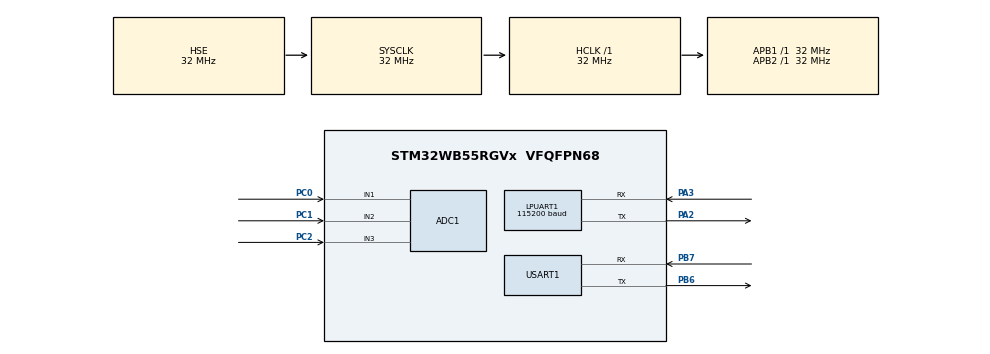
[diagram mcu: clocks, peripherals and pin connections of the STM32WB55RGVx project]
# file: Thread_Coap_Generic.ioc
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ADC1.Channel-0\#ChannelRegularConversion=ADC_CHANNEL_VREFINT
ADC1.Channel-1\#ChannelRegularConversion=ADC_CHANNEL_1
ADC1.Channel-2\#ChannelRegularConversion=ADC_CHANNEL_2
ADC1.Channel-3\#ChannelRegularConversion=ADC_CHANNEL_3
ADC1.ClockPrescaler=ADC_CLOCK_SYNC_PCLK_DIV4
ADC1.DMAContinuousRequests=ENABLE
ADC1.EnableAnalogWatchDog3=false
ADC1.NbrOfConversion=4
ADC1.NbrOfConversionFlag=1
ADC1.OffsetNumber-0\#ChannelRegularConversion=ADC_OFFSET_NONE
ADC1.OffsetNumber-1\#ChannelRegularConversion=ADC_OFFSET_NONE
ADC1.OffsetNumber-2\#ChannelRegularConversion=ADC_OFFSET_NONE
ADC1.OffsetNumber-3\#ChannelRegularConversion=ADC_OFFSET_NONE
ADC1.OversamplingMode=ENABLE
ADC1.OversamplingStopReset=ADC_REGOVERSAMPLING_RESUMED_MODE
ADC1.Rank-0\#ChannelRegularConversion=1
ADC1.Rank-1\#ChannelRegularConversion=2
ADC1.Rank-2\#ChannelRegularConversion=3
ADC1.Rank-3\#ChannelRegularConversion=4
ADC1.Ratio=ADC_OVERSAMPLING_RATIO_256
ADC1.RightBitShift=ADC_RIGHTBITSHIFT_4
ADC1.SamplingTime-0\#ChannelRegularConversion=ADC_SAMPLETIME_640CYCLES_5
ADC1.SamplingTime-1\#ChannelRegularConversion=ADC_SAMPLETIME_640CYCLES_5
ADC1.SamplingTime-2\#ChannelRegularConversion=ADC_SAMPLETIME_640CYCLES_5
ADC1.SamplingTime-3\#ChannelRegularConversion=ADC_SAMPLETIME_640CYCLES_5
ADC1.master=1
Dma.ADC1.1.Direction=DMA_PERIPH_TO_MEMORY
Dma.ADC1.1.EventEnable=DISABLE
Dma.ADC1.1.Instance=DMA1_Channel1
Dma.ADC1.1.MemDataAlignment=DMA_MDATAALIGN_HALFWORD
Dma.ADC1.1.MemInc=DMA_MINC_ENABLE
Dma.ADC1.1.Mode=DMA_NORMAL
Dma.ADC1.1.PeriphDataAlignment=DMA_PDATAALIGN_HALFWORD
Dma.ADC1.1.PeriphInc=DMA_PINC_DISABLE
Dma.ADC1.1.Polarity=HAL_DMAMUX_REQ_GEN_RISING
Dma.ADC1.1.Priority=DMA_PRIORITY_LOW
Dma.ADC1.1.RequestNumber=1
Dma.ADC1.1.SignalID=NONE
Dma.ADC1.1.SyncEnable=DISABLE
Dma.ADC1.1.SyncPolarity=HAL_DMAMUX_SYNC_NO_EVENT
Dma.ADC1.1.SyncRequestNumber=1
Dma.ADC1.1.SyncSignalID=NONE
Dma.LPUART1_TX.2.Direction=DMA_MEMORY_TO_PERIPH
Dma.LPUART1_TX.2.EventEnable=DISABLE
Dma.LPUART1_TX.2.Instance=DMA1_Channel3
Dma.LPUART1_TX.2.MemDataAlignment=DMA_MDATAALIGN_BYTE
Dma.LPUART1_TX.2.MemInc=DMA_MINC_ENABLE
Dma.LPUART1_TX.2.Mode=DMA_NORMAL
Dma.LPUART1_TX.2.PeriphDataAlignment=DMA_PDATAALIGN_BYTE
Dma.LPUART1_TX.2.PeriphInc=DMA_PINC_DISABLE
Dma.LPUART1_TX.2.Polarity=HAL_DMAMUX_REQ_GEN_RISING
Dma.LPUART1_TX.2.Priority=DMA_PRIORITY_LOW
Dma.LPUART1_TX.2.RequestNumber=1
Dma.LPUART1_TX.2.SignalID=NONE
Dma.LPUART1_TX.2.SyncEnable=DISABLE
Dma.LPUART1_TX.2.SyncPolarity=HAL_DMAMUX_SYNC_NO_EVENT
Dma.LPUART1_TX.2.SyncRequestNumber=1
Dma.LPUART1_TX.2.SyncSignalID=NONE
Dma.Request0=USART1_TX
Dma.Request1=ADC1
Dma.Request2=LPUART1_TX
Dma.USART1_TX.0.Direction=DMA_MEMORY_TO_PERIPH
Dma.USART1_TX.0.EventEnable=DISABLE
Dma.USART1_TX.0.Instance=DMA1_Channel2
Dma.USART1_TX.0.MemDataAlignment=DMA_MDATAALIGN_BYTE
Dma.USART1_TX.0.MemInc=DMA_MINC_ENABLE
Dma.USART1_TX.0.Mode=DMA_NORMAL
Dma.USART1_TX.0.PeriphDataAlignment=DMA_PDATAALIGN_BYTE
Dma.USART1_TX.0.PeriphInc=DMA_PINC_DISABLE
Dma.USART1_TX.0.Polarity=HAL_DMAMUX_REQ_GEN_RISING
Dma.USART1_TX.0.Priority=DMA_PRIORITY_LOW
Dma.USART1_TX.0.RequestNumber=1
Dma.USART1_TX.0.SignalID=NONE
Dma.USART1_TX.0.SyncEnable=DISABLE
Dma.USART1_TX.0.SyncPolarity=HAL_DMAMUX_SYNC_NO_EVENT
Dma.USART1_TX.0.SyncRequestNumber=1
Dma.USART1_TX.0.SyncSignalID=NONE
LPUART1.BaudRate=115200
Mcu.Family=STM32WB
Mcu.Name=STM32WB55RGVx
Mcu.Package=VFQFPN68
NVIC.ADC1_IRQn=true\:0\:0\:false\:false\:true\:true\:true
NVIC.C2SEV_PWR_C2H_IRQn=true\:0\:0\:false\:false\:true\:true\:false
NVIC.DMA1_Channel1_IRQn=true\:0\:0\:false\:false\:true\:false\:true
NVIC.DMA1_Channel2_IRQn=true\:0\:0\:false\:false\:true\:false\:true
NVIC.DMA1_Channel3_IRQn=true\:0\:0\:false\:false\:true\:false\:true
NVIC.FLASH_IRQn=true\:0\:0\:false\:false\:true\:true\:true
NVIC.FPU_IRQn=true\:0\:0\:false\:false\:true\:true\:false
NVIC.HSEM_IRQn=true\:0\:0\:false\:false\:true\:true\:true
NVIC.IPCC_C1_RX_IRQn=true\:0\:0\:false\:false\:true\:true\:true
NVIC.IPCC_C1_TX_IRQn=true\:0\:0\:false\:false\:true\:true\:true
NVIC.PVD_PVM_IRQn=true\:0\:0\:false\:false\:true\:true\:true
NVIC.PWR_SOTF_BLEACT_802ACT_RFPHASE_IRQn=true\:0\:0\:false\:false\:true\:true\:false
NVIC.PriorityGroup=NVIC_PRIORITYGROUP_4
NVIC.RCC_IRQn=true\:0\:0\:false\:false\:true\:true\:false
NVIC.USART1_IRQn=true\:0\:0\:false\:false\:true\:true\:true
OSC_IN.Mode=HSE-External-Oscillator
OSC_IN.Signal=RCC_OSC_IN
OSC_OUT.Mode=HSE-External-Oscillator
OSC_OUT.Signal=RCC_OSC_OUT
PA13.Mode=Serial_Wire
PA13.Signal=SYS_JTMS-SWDIO
PA14.Mode=Serial_Wire
PA14.Signal=SYS_JTCK-SWCLK
PA2.Mode=Asynchronous
PA2.Signal=LPUART1_TX
PA3.Mode=Asynchronous
PA3.Signal=LPUART1_RX
PB6.Mode=Asynchronous
PB6.Signal=USART1_TX
PB7.Mode=Asynchronous
PB7.Signal=USART1_RX
PC0.Signal=ADCx_IN1
PC1.Signal=ADCx_IN2
PC14-OSC32_IN.Mode=LSE-External-Oscillator
PC14-OSC32_IN.Signal=RCC_OSC32_IN
PC15-OSC32_OUT.Mode=LSE-External-Oscillator
PC15-OSC32_OUT.Signal=RCC_OSC32_OUT
PC2.Signal=ADCx_IN3
ProjectManager.HeapSize=0x400
ProjectManager.StackSize=0x1000
ProjectManager.TargetToolchain=STM32CubeIDE
RCC.ADCFreq_Value=48000000
RCC.AHBFreq_Value=32000000
RCC.APB1Freq_Value=32000000
RCC.APB1TimFreq_Value=32000000
RCC.APB2Freq_Value=32000000
RCC.APB2TimFreq_Value=32000000
RCC.APB3Freq_Value=16000000
RCC.CK48CLockSelection=RCC_USBCLKSOURCE_HSI48
RCC.CortexFreq_Value=32000000
RCC.HCLKFreq_Value=32000000
RCC.HSE_VALUE=32000000
RCC.HSI48_VALUE=48000000
RCC.HSI_VALUE=16000000
RCC.PLLN=32
RCC.PLLSAI1N=24
RCC.RFWKPClockSelection=RCC_RFWKPCLKSOURCE_LSE
RCC.RTCClockSelection=RCC_RTCCLKSOURCE_LSE
RCC.SMPSCLockSelectionVirtual=RCC_SMPSCLKSOURCE_HSE
RCC.SYSCLKFreq_VALUE=32000000
RCC.SYSCLKSource=RCC_SYSCLKSOURCE_HSE
RCC.USBFreq_Value=48000000
RCC.VCOOutputFreq_Value=128000000
RF1.Mode=RF1_Activate
RF1.Signal=RF_RF1
RTC.AsynchPrediv=CFG_RTC_ASYNCH_PRESCALER
RTC.SynchPrediv=CFG_RTC_SYNCH_PRESCALER
SH.ADCx_IN1.0=ADC1_IN1,IN1-Single-Ended
SH.ADCx_IN2.0=ADC1_IN2,IN2-Single-Ended
SH.ADCx_IN3.0=ADC1_IN3,IN3-Single-Ended
STM32_WPAN.APPLI_CONFIG_LOG_LEVEL=LOG_LEVEL_NONE
STM32_WPAN.APP_DBG_EN=1
STM32_WPAN.CFG_CLI_UART=hw_lpuart1
STM32_WPAN.CFG_DBG_TRACE_UART=hw_lpuart1
STM32_WPAN.CFG_DEBUG_TRACE=1
STM32_WPAN.CFG_DEBUG_TRACE_FULL=0
STM32_WPAN.CFG_DEBUG_TRACE_LIGHT=0
STM32_WPAN.CFG_DEBUG_TRACE_LIGTH=1
STM32_WPAN.CFG_FAST_CONN_ADV_INTERVAL_MAX_HEXA=0x0
STM32_WPAN.CFG_FAST_CONN_ADV_INTERVAL_MIN_HEXA=0x0
STM32_WPAN.CFG_HW_LPUART1_ENABLED=1
STM32_WPAN.CFG_HW_USART1_ENABLED=0
STM32_WPAN.CFG_LP_CONN_ADV_INTERVAL_MAX_HEXA=0x0
STM32_WPAN.CFG_LP_CONN_ADV_INTERVAL_MIN_HEXA=0x0
STM32_WPAN.CHANNEL=14
STM32_WPAN.DBG_TRACE_UART_CFG=hw_lpuart1
STM32_WPAN.DBG_TRACE_USE_CIRCULAR_QUEUE=0
STM32_WPAN.LOCAL_NAME_FORMATTED=,'0'
STM32_WPAN.PANID=1111
STM32_WPAN.THREAD_APPLICATION=FTD
STM32_WPAN.UART_CLI=hw_uart1
USART1.OverSampling=UART_OVERSAMPLING_8
USART1.VirtualMode-Asynchronous=VM_ASYNC
USART1.WordLength=WORDLENGTH_8B
VP_ADC1_Vref_Input.Mode=IN-Vrefint
VP_HSEM_VS_HSEM.Mode=HSEM_Activate
VP_IPCC_VS_IPCC.Mode=IPCC_Activate
VP_RTC_VS_RTC_Activate.Mode=RTC_Enabled
VP_SEQUENCER_VS_SEQUENCER.Mode=SEQUENCER_Enabled
VP_STM32_WPAN_VS_THREAD.Mode=STM32_WPAN_Enabled
VP_TINY_LPM_VS_TINY_LPM.Mode=TINY_LPM_Enabled
board=custom

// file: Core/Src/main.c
/* USER CODE BEGIN Header */
/**
  ******************************************************************************
  * @file           : main.c
  * @brief          : Main program body
  ******************************************************************************
  * @attention
  *
  * <h2><center>&copy; Copyright (c) 2021 STMicroelectronics.
  * All rights reserved.</center></h2>
  *
  * This software component is licensed by ST under Ultimate Liberty license
  * SLA0044, the "License"; You may not use this file except in compliance with
  * the License. You may obtain a copy of the License at:
  *                             www.st.com/SLA0044
  *
  ******************************************************************************
  */

/* USER CODE END Header */
#include "main.h"

/* USER CODE BEGIN Includes */
#include "stm32_lpm.h"
#include "stm32_seq.h"
#include "dbg_trace.h"
#include "hw_conf.h"
#include "otp.h"

/* USER CODE END Includes */

ADC_HandleTypeDef hadc1;
DMA_HandleTypeDef hdma_adc1;

IPCC_HandleTypeDef hipcc;

UART_HandleTypeDef hlpuart1;
UART_HandleTypeDef huart1;
DMA_HandleTypeDef hdma_lpuart1_tx;
DMA_HandleTypeDef hdma_usart1_tx;

RTC_HandleTypeDef hrtc;

/* USER CODE BEGIN PV */
RTC_TimeTypeDef sTime = {0};
RTC_DateTypeDef sDate = {0};
RTC_AlarmTypeDef sAlarm = {0};

/* USER CODE END PV */

void SystemClock_Config(void);
static void MX_GPIO_Init(void);
static void MX_DMA_Init(void);
static void MX_RF_Init(void);
static void MX_RTC_Init(void);
static void MX_IPCC_Init(void);
static void MX_ADC1_Init(void);
/* USER CODE BEGIN PFP */
static void PeriphClock_Config(void);
static void Reset_Device( void );
static void Reset_IPCC( void );
static void Reset_BackupDomain( void );
static void Init_Exti( void );
static void Config_HSE(void);

static void RTC_ReSyncAlm(uint8_t AlmH, uint8_t AlmM, uint8_t AlmS);
/* USER CODE END PFP */

int main(void)
{
  /* USER CODE BEGIN 1 */
  /**
   * The OPTVERR flag is wrongly set at power on
   * It shall be cleared before using any HAL_FLASH_xxx() api
   */
  __HAL_FLASH_CLEAR_FLAG(FLASH_FLAG_OPTVERR);

  /* USER CODE END 1 */

  /* MCU Configuration--------------------------------------------------------*/

  /* Reset of all peripherals, Initializes the Flash interface and the Systick. */
  HAL_Init();

  /* USER CODE BEGIN Init */
  Reset_Device();
  Config_HSE();
  /* USER CODE END Init */

  /* Configure the system clock */
  SystemClock_Config();

  /* IPCC initialisation */
   MX_IPCC_Init();

  /* USER CODE BEGIN SysInit */
  PeriphClock_Config();
  Init_Exti(); /**< Configure the system Power Mode */

  /* USER CODE END SysInit */

  /* Initialize all configured peripherals */
  MX_GPIO_Init();
  MX_DMA_Init();
  MX_RF_Init();
  MX_RTC_Init();
  MX_ADC1_Init();
  MX_LPUART1_UART_Init();
  /* USER CODE BEGIN 2 */
  MX_USART1_UART_Init();

  BSP_LED_Init(LED_BLUE);
  BSP_LED_Init(LED_GREEN);
  BSP_LED_Init(LED_RED);

  /* USER CODE END 2 */

  /* Init code for STM32_WPAN */
  APPE_Init();
  /* Infinite loop */
  /* USER CODE BEGIN WHILE */
  while (1)
  {
    UTIL_SEQ_Run( UTIL_SEQ_DEFAULT );
    /* USER CODE END WHILE */
  }
  /* USER CODE END 3 */
}

void SystemClock_Config(void)
{
  RCC_OscInitTypeDef RCC_OscInitStruct = {0};
  RCC_ClkInitTypeDef RCC_ClkInitStruct = {0};
  RCC_PeriphCLKInitTypeDef PeriphClkInitStruct = {0};

  /** Macro to configure the PLL multiplication factor
  */
  __HAL_RCC_PLL_PLLM_CONFIG(RCC_PLLM_DIV1);
  /** Macro to configure the PLL clock source
  */
  __HAL_RCC_PLL_PLLSOURCE_CONFIG(RCC_PLLSOURCE_MSI);
  /** Configure LSE Drive Capability
  */
  HAL_PWR_EnableBkUpAccess();
  __HAL_RCC_LSEDRIVE_CONFIG(RCC_LSEDRIVE_LOW);
  /** Configure the main internal regulator output voltage
  */
  __HAL_PWR_VOLTAGESCALING_CONFIG(PWR_REGULATOR_VOLTAGE_SCALE1);
  /** Initializes the RCC Oscillators according to the specified parameters
  * in the RCC_OscInitTypeDef structure.
  */
  RCC_OscInitStruct.OscillatorType = RCC_OSCILLATORTYPE_HSI|RCC_OSCILLATORTYPE_HSE
                              |RCC_OSCILLATORTYPE_LSE|RCC_OSCILLATORTYPE_MSI;
  RCC_OscInitStruct.HSEState = RCC_HSE_ON;
  RCC_OscInitStruct.LSEState = RCC_LSE_ON;
  RCC_OscInitStruct.HSIState = RCC_HSI_ON;
  RCC_OscInitStruct.MSIState = RCC_MSI_ON;
  RCC_OscInitStruct.HSICalibrationValue = RCC_HSICALIBRATION_DEFAULT;
  RCC_OscInitStruct.MSICalibrationValue = RCC_MSICALIBRATION_DEFAULT;
  RCC_OscInitStruct.MSIClockRange = RCC_MSIRANGE_6;
  RCC_OscInitStruct.PLL.PLLState = RCC_PLL_NONE;
  if (HAL_RCC_OscConfig(&RCC_OscInitStruct) != HAL_OK)
  {
    Error_Handler();
  }
  /** Configure the SYSCLKSource, HCLK, PCLK1 and PCLK2 clocks dividers
  */
  RCC_ClkInitStruct.ClockType = RCC_CLOCKTYPE_HCLK4|RCC_CLOCKTYPE_HCLK2
                              |RCC_CLOCKTYPE_HCLK|RCC_CLOCKTYPE_SYSCLK
                              |RCC_CLOCKTYPE_PCLK1|RCC_CLOCKTYPE_PCLK2;
  RCC_ClkInitStruct.SYSCLKSource = RCC_SYSCLKSOURCE_HSE;
  RCC_ClkInitStruct.AHBCLKDivider = RCC_SYSCLK_DIV1;
  RCC_ClkInitStruct.APB1CLKDivider = RCC_HCLK_DIV1;
  RCC_ClkInitStruct.APB2CLKDivider = RCC_HCLK_DIV1;
  RCC_ClkInitStruct.AHBCLK2Divider = RCC_SYSCLK_DIV1;
  RCC_ClkInitStruct.AHBCLK4Divider = RCC_SYSCLK_DIV1;

  if (HAL_RCC_ClockConfig(&RCC_ClkInitStruct, FLASH_LATENCY_1) != HAL_OK)
  {
    Error_Handler();
  }
  /** Initializes the peripherals clocks
  */
  PeriphClkInitStruct.PeriphClockSelection = RCC_PERIPHCLK_SMPS|RCC_PERIPHCLK_RFWAKEUP
                              |RCC_PERIPHCLK_RTC|RCC_PERIPHCLK_USART1
                              |RCC_PERIPHCLK_LPUART1|RCC_PERIPHCLK_ADC;
  PeriphClkInitStruct.PLLSAI1.PLLN = 24;
  PeriphClkInitStruct.PLLSAI1.PLLP = RCC_PLLP_DIV2;
  PeriphClkInitStruct.PLLSAI1.PLLQ = RCC_PLLQ_DIV2;
  PeriphClkInitStruct.PLLSAI1.PLLR = RCC_PLLR_DIV2;
  PeriphClkInitStruct.PLLSAI1.PLLSAI1ClockOut = RCC_PLLSAI1_ADCCLK;
  PeriphClkInitStruct.Usart1ClockSelection = RCC_USART1CLKSOURCE_PCLK2;
  PeriphClkInitStruct.Lpuart1ClockSelection = RCC_LPUART1CLKSOURCE_PCLK1;
  PeriphClkInitStruct.AdcClockSelection = RCC_ADCCLKSOURCE_PLLSAI1;
  PeriphClkInitStruct.RTCClockSelection = RCC_RTCCLKSOURCE_LSE;
  PeriphClkInitStruct.RFWakeUpClockSelection = RCC_RFWKPCLKSOURCE_LSE;
  PeriphClkInitStruct.SmpsClockSelection = RCC_SMPSCLKSOURCE_HSE;
  PeriphClkInitStruct.SmpsDivSelection = RCC_SMPSCLKDIV_RANGE0;
  if (HAL_RCCEx_PeriphCLKConfig(&PeriphClkInitStruct) != HAL_OK)
  {
    Error_Handler();
  }
}

static void MX_ADC1_Init(void)
{

  ADC_ChannelConfTypeDef sConfig = {0};

  /** Common config
  */
  hadc1.Instance = ADC1;
  hadc1.Init.ClockPrescaler = ADC_CLOCK_SYNC_PCLK_DIV4;
  hadc1.Init.Resolution = ADC_RESOLUTION_12B;
  hadc1.Init.DataAlign = ADC_DATAALIGN_RIGHT;
  hadc1.Init.ScanConvMode = ADC_SCAN_ENABLE;
  hadc1.Init.EOCSelection = ADC_EOC_SINGLE_CONV;
  hadc1.Init.LowPowerAutoWait = DISABLE;
  hadc1.Init.ContinuousConvMode = DISABLE;
  hadc1.Init.NbrOfConversion = 4;
  hadc1.Init.DiscontinuousConvMode = DISABLE;
  hadc1.Init.ExternalTrigConv = ADC_SOFTWARE_START;
  hadc1.Init.ExternalTrigConvEdge = ADC_EXTERNALTRIGCONVEDGE_NONE;
  hadc1.Init.DMAContinuousRequests = ENABLE;
  hadc1.Init.Overrun = ADC_OVR_DATA_PRESERVED;
  hadc1.Init.OversamplingMode = ENABLE;
  hadc1.Init.Oversampling.Ratio = ADC_OVERSAMPLING_RATIO_256;
  hadc1.Init.Oversampling.RightBitShift = ADC_RIGHTBITSHIFT_4;
  hadc1.Init.Oversampling.TriggeredMode = ADC_TRIGGEREDMODE_SINGLE_TRIGGER;
  hadc1.Init.Oversampling.OversamplingStopReset = ADC_REGOVERSAMPLING_RESUMED_MODE;
  if (HAL_ADC_Init(&hadc1) != HAL_OK)
  {
    Error_Handler();
  }
  /** Configure Regular Channel
  */
  sConfig.Channel = ADC_CHANNEL_VREFINT;
  sConfig.Rank = ADC_REGULAR_RANK_1;
  sConfig.SamplingTime = ADC_SAMPLETIME_640CYCLES_5;
  sConfig.SingleDiff = ADC_SINGLE_ENDED;
  sConfig.OffsetNumber = ADC_OFFSET_NONE;
  sConfig.Offset = 0;
  if (HAL_ADC_ConfigChannel(&hadc1, &sConfig) != HAL_OK)
  {
    Error_Handler();
  }
  /** Configure Regular Channel
  */
  sConfig.Channel = ADC_CHANNEL_1;
  sConfig.Rank = ADC_REGULAR_RANK_2;
  if (HAL_ADC_ConfigChannel(&hadc1, &sConfig) != HAL_OK)
  {
    Error_Handler();
  }
  /** Configure Regular Channel
  */
  sConfig.Channel = ADC_CHANNEL_2;
  sConfig.Rank = ADC_REGULAR_RANK_3;
  if (HAL_ADC_ConfigChannel(&hadc1, &sConfig) != HAL_OK)
  {
    Error_Handler();
  }
  /** Configure Regular Channel
  */
  sConfig.Channel = ADC_CHANNEL_3;
  sConfig.Rank = ADC_REGULAR_RANK_4;
  if (HAL_ADC_ConfigChannel(&hadc1, &sConfig) != HAL_OK)
  {
    Error_Handler();
  }
  /* USER CODE BEGIN ADC1_Init 2 */
  /**> RR Perform ADC Offset Calibration One time */
  if (HAL_ADCEx_Calibration_Start(&hadc1, ADC_SINGLE_ENDED) != HAL_OK)
  {
   Error_Handler();
  }

  /* USER CODE END ADC1_Init 2 */

}

static void MX_IPCC_Init(void)
{

  hipcc.Instance = IPCC;
  if (HAL_IPCC_Init(&hipcc) != HAL_OK)
  {
    Error_Handler();
  }

}

void MX_LPUART1_UART_Init(void)
{

  hlpuart1.Instance = LPUART1;
  hlpuart1.Init.BaudRate = 115200;
  hlpuart1.Init.WordLength = UART_WORDLENGTH_8B;
  hlpuart1.Init.StopBits = UART_STOPBITS_1;
  hlpuart1.Init.Parity = UART_PARITY_NONE;
  hlpuart1.Init.Mode = UART_MODE_TX_RX;
  hlpuart1.Init.HwFlowCtl = UART_HWCONTROL_NONE;
  hlpuart1.Init.OneBitSampling = UART_ONE_BIT_SAMPLE_DISABLE;
  hlpuart1.Init.ClockPrescaler = UART_PRESCALER_DIV1;
  hlpuart1.AdvancedInit.AdvFeatureInit = UART_ADVFEATURE_NO_INIT;
  hlpuart1.FifoMode = UART_FIFOMODE_DISABLE;
  if (HAL_UART_Init(&hlpuart1) != HAL_OK)
  {
    Error_Handler();
  }
  if (HAL_UARTEx_SetTxFifoThreshold(&hlpuart1, UART_TXFIFO_THRESHOLD_1_8) != HAL_OK)
  {
    Error_Handler();
  }
  if (HAL_UARTEx_SetRxFifoThreshold(&hlpuart1, UART_RXFIFO_THRESHOLD_1_8) != HAL_OK)
  {
    Error_Handler();
  }
  if (HAL_UARTEx_DisableFifoMode(&hlpuart1) != HAL_OK)
  {
    Error_Handler();
  }

}

void MX_USART1_UART_Init(void)
{

  huart1.Instance = USART1;
  huart1.Init.BaudRate = 115200;
  huart1.Init.WordLength = UART_WORDLENGTH_8B;
  huart1.Init.StopBits = UART_STOPBITS_1;
  huart1.Init.Parity = UART_PARITY_NONE;
  huart1.Init.Mode = UART_MODE_TX_RX;
  huart1.Init.HwFlowCtl = UART_HWCONTROL_NONE;
  huart1.Init.OverSampling = UART_OVERSAMPLING_8;
  huart1.Init.OneBitSampling = UART_ONE_BIT_SAMPLE_DISABLE;
  huart1.Init.ClockPrescaler = UART_PRESCALER_DIV1;
  huart1.AdvancedInit.AdvFeatureInit = UART_ADVFEATURE_NO_INIT;
  if (HAL_UART_Init(&huart1) != HAL_OK)
  {
    Error_Handler();
  }
  if (HAL_UARTEx_SetTxFifoThreshold(&huart1, UART_TXFIFO_THRESHOLD_1_8) != HAL_OK)
  {
    Error_Handler();
  }
  if (HAL_UARTEx_SetRxFifoThreshold(&huart1, UART_RXFIFO_THRESHOLD_1_8) != HAL_OK)
  {
    Error_Handler();
  }
  if (HAL_UARTEx_DisableFifoMode(&huart1) != HAL_OK)
  {
    Error_Handler();
  }

}

static void MX_RF_Init(void)
{

}

static void MX_RTC_Init(void)
{

  /** Initialize RTC Only
  */
  hrtc.Instance = RTC;
  hrtc.Init.HourFormat = RTC_HOURFORMAT_24;
  hrtc.Init.AsynchPrediv = CFG_RTC_ASYNCH_PRESCALER;
  hrtc.Init.SynchPrediv = CFG_RTC_SYNCH_PRESCALER;
  hrtc.Init.OutPut = RTC_OUTPUT_DISABLE;
  hrtc.Init.OutPutPolarity = RTC_OUTPUT_POLARITY_HIGH;
  hrtc.Init.OutPutType = RTC_OUTPUT_TYPE_OPENDRAIN;
  hrtc.Init.OutPutRemap = RTC_OUTPUT_REMAP_NONE;
  if (HAL_RTC_Init(&hrtc) != HAL_OK)
  {
    Error_Handler();
  }
  /* USER CODE BEGIN RTC_Init 2 */

  /** Initialize RTC and set the Time and Date */
  sTime.Hours = 0x0;
  sTime.Minutes = 0x0;
  sTime.Seconds = 0x0;
  sTime.SubSeconds = 0x0;
  sTime.DayLightSaving = RTC_DAYLIGHTSAVING_NONE;
  sTime.StoreOperation = RTC_STOREOPERATION_RESET;
  if (HAL_RTC_SetTime(&hrtc, &sTime, RTC_FORMAT_BCD) != HAL_OK)
  {
    Error_Handler();
  }
  sDate.WeekDay = RTC_WEEKDAY_MONDAY;
  sDate.Month = RTC_MONTH_FEBRUARY;
  sDate.Date = 0x1;
  sDate.Year = 0x21;
  if (HAL_RTC_SetDate(&hrtc, &sDate, RTC_FORMAT_BCD) != HAL_OK)
  {
    Error_Handler();
  }
  /** Enable the Alarm A */
  sAlarm.AlarmTime.Hours = 0x0;
  sAlarm.AlarmTime.Minutes = 0x1;
  sAlarm.AlarmTime.Seconds = 0x0;
  sAlarm.AlarmTime.SubSeconds = 0x0;
  sAlarm.AlarmTime.DayLightSaving = RTC_DAYLIGHTSAVING_NONE;
  sAlarm.AlarmTime.StoreOperation = RTC_STOREOPERATION_RESET;
  sAlarm.AlarmMask = RTC_ALARMMASK_NONE;
  sAlarm.AlarmSubSecondMask = RTC_ALARMSUBSECONDMASK_ALL;
  sAlarm.AlarmDateWeekDaySel = RTC_ALARMDATEWEEKDAYSEL_WEEKDAY;
  sAlarm.AlarmDateWeekDay = RTC_WEEKDAY_MONDAY;
  sAlarm.Alarm = RTC_ALARM_A;
  if (HAL_RTC_SetAlarm_IT(&hrtc, &sAlarm, RTC_FORMAT_BCD) != HAL_OK)
  {
    Error_Handler();
  }
  /* USER CODE END RTC_Init 2 */
}

static void MX_DMA_Init(void)
{

  /* DMA controller clock enable */
  __HAL_RCC_DMAMUX1_CLK_ENABLE();
  __HAL_RCC_DMA1_CLK_ENABLE();

  /* DMA interrupt init */
  /* DMA1_Channel1_IRQn interrupt configuration */
  HAL_NVIC_SetPriority(DMA1_Channel1_IRQn, 0, 0);
  HAL_NVIC_EnableIRQ(DMA1_Channel1_IRQn);
  /* DMA1_Channel2_IRQn interrupt configuration */
  HAL_NVIC_SetPriority(DMA1_Channel2_IRQn, 0, 0);
  HAL_NVIC_EnableIRQ(DMA1_Channel2_IRQn);
  /* DMA1_Channel3_IRQn interrupt configuration */
  HAL_NVIC_SetPriority(DMA1_Channel3_IRQn, 0, 0);
  HAL_NVIC_EnableIRQ(DMA1_Channel3_IRQn);

}

static void MX_GPIO_Init(void)
{

  /* GPIO Ports Clock Enable */
  __HAL_RCC_GPIOC_CLK_ENABLE();
  __HAL_RCC_GPIOA_CLK_ENABLE();
  __HAL_RCC_GPIOB_CLK_ENABLE();

}

/* USER CODE BEGIN 4 */
static void PeriphClock_Config(void)
{
  #if (CFG_USB_INTERFACE_ENABLE != 0)
  RCC_PeriphCLKInitTypeDef PeriphClkInitStruct = { 0 };
  RCC_CRSInitTypeDef RCC_CRSInitStruct = { 0 };

  /**
   * This prevents the CPU2 to disable the HSI48 oscillator when
   * it does not use anymore the RNG IP
   */
  LL_HSEM_1StepLock( HSEM, 5 );

  LL_RCC_HSI48_Enable();

  while(!LL_RCC_HSI48_IsReady());

  /* Select HSI48 as USB clock source */
  PeriphClkInitStruct.PeriphClockSelection = RCC_PERIPHCLK_USB;
  PeriphClkInitStruct.UsbClockSelection = RCC_USBCLKSOURCE_HSI48;
  HAL_RCCEx_PeriphCLKConfig(&PeriphClkInitStruct);

  /*Configure the clock recovery system (CRS)**********************************/

  /* Enable CRS Clock */
  __HAL_RCC_CRS_CLK_ENABLE();

  /* Default Synchro Signal division factor (not divided) */
  RCC_CRSInitStruct.Prescaler = RCC_CRS_SYNC_DIV1;

  /* Set the SYNCSRC[1:0] bits according to CRS_Source value */
  RCC_CRSInitStruct.Source = RCC_CRS_SYNC_SOURCE_USB;

  /* HSI48 is synchronized with USB SOF at 1KHz rate */
  RCC_CRSInitStruct.ReloadValue = RCC_CRS_RELOADVALUE_DEFAULT;
  RCC_CRSInitStruct.ErrorLimitValue = RCC_CRS_ERRORLIMIT_DEFAULT;

  RCC_CRSInitStruct.Polarity = RCC_CRS_SYNC_POLARITY_RISING;

  /* Set the TRIM[5:0] to the default value*/
  RCC_CRSInitStruct.HSI48CalibrationValue = RCC_CRS_HSI48CALIBRATION_DEFAULT;

  /* Start automatic synchronization */
  HAL_RCCEx_CRSConfig(&RCC_CRSInitStruct);
#endif

  return;
}
/*************************************************************
 *
 * LOCAL FUNCTIONS
 *
 *************************************************************/

static void Config_HSE(void)
{
    OTP_ID0_t * p_otp;

  /**
   * Read HSE_Tuning from OTP
   */
  p_otp = (OTP_ID0_t *) OTP_Read(0);
  if (p_otp)
  {
    LL_RCC_HSE_SetCapacitorTuning(p_otp->hse_tuning);
  }

  return;
}

static void Reset_Device( void )
{
#if ( CFG_HW_RESET_BY_FW == 1 )
  Reset_BackupDomain();

  Reset_IPCC();
#endif

  return;
}

static void Reset_IPCC( void )
{
  LL_AHB3_GRP1_EnableClock(LL_AHB3_GRP1_PERIPH_IPCC);

  LL_C1_IPCC_ClearFlag_CHx(
      IPCC,
      LL_IPCC_CHANNEL_1 | LL_IPCC_CHANNEL_2 | LL_IPCC_CHANNEL_3 | LL_IPCC_CHANNEL_4
      | LL_IPCC_CHANNEL_5 | LL_IPCC_CHANNEL_6);

  LL_C2_IPCC_ClearFlag_CHx(
      IPCC,
      LL_IPCC_CHANNEL_1 | LL_IPCC_CHANNEL_2 | LL_IPCC_CHANNEL_3 | LL_IPCC_CHANNEL_4
      | LL_IPCC_CHANNEL_5 | LL_IPCC_CHANNEL_6);

  LL_C1_IPCC_DisableTransmitChannel(
      IPCC,
      LL_IPCC_CHANNEL_1 | LL_IPCC_CHANNEL_2 | LL_IPCC_CHANNEL_3 | LL_IPCC_CHANNEL_4
      | LL_IPCC_CHANNEL_5 | LL_IPCC_CHANNEL_6);

  LL_C2_IPCC_DisableTransmitChannel(
      IPCC,
      LL_IPCC_CHANNEL_1 | LL_IPCC_CHANNEL_2 | LL_IPCC_CHANNEL_3 | LL_IPCC_CHANNEL_4
      | LL_IPCC_CHANNEL_5 | LL_IPCC_CHANNEL_6);

  LL_C1_IPCC_DisableReceiveChannel(
      IPCC,
      LL_IPCC_CHANNEL_1 | LL_IPCC_CHANNEL_2 | LL_IPCC_CHANNEL_3 | LL_IPCC_CHANNEL_4
      | LL_IPCC_CHANNEL_5 | LL_IPCC_CHANNEL_6);

  LL_C2_IPCC_DisableReceiveChannel(
      IPCC,
      LL_IPCC_CHANNEL_1 | LL_IPCC_CHANNEL_2 | LL_IPCC_CHANNEL_3 | LL_IPCC_CHANNEL_4
      | LL_IPCC_CHANNEL_5 | LL_IPCC_CHANNEL_6);

  return;
}

static void Reset_BackupDomain( void )
{
  if ((LL_RCC_IsActiveFlag_PINRST() != FALSE) && (LL_RCC_IsActiveFlag_SFTRST() == FALSE))
  {
    HAL_PWR_EnableBkUpAccess(); /**< Enable access to the RTC registers */

    /**
     *  Write twice the value to flush the APB-AHB bridge
     *  This bit shall be written in the register before writing the next one
     */
    HAL_PWR_EnableBkUpAccess();

    __HAL_RCC_BACKUPRESET_FORCE();
    __HAL_RCC_BACKUPRESET_RELEASE();
  }

  return;
}

static void Init_Exti( void )
{
  /**< Disable all wakeup interrupt on CPU1  except IPCC(36), HSEM(38) */
  LL_EXTI_DisableIT_0_31(~0);
  LL_EXTI_DisableIT_32_63( (~0) & (~(LL_EXTI_LINE_36 | LL_EXTI_LINE_38)) );

  return;
}

/*************************************************************
 *
 * WRAP FUNCTIONS
 *
 *************************************************************/
void HAL_Delay(uint32_t Delay)
{
  uint32_t tickstart = HAL_GetTick();
  uint32_t wait = Delay;

  /* Add a freq to guarantee minimum wait */
  if (wait < HAL_MAX_DELAY)
  {
    wait += HAL_GetTickFreq();
  }

  while ((HAL_GetTick() - tickstart) < wait)
  {
    /************************************************************************************
     * ENTER SLEEP MODE
     ***********************************************************************************/
    LL_LPM_EnableSleep( ); /**< Clear SLEEPDEEP bit of Cortex System Control Register */

    /**
     * This option is used to ensure that store operations are completed
     */
  #if defined ( __CC_ARM)
    __force_stores();
  #endif

    __WFI( );
  }
}

static void RTC_ReSyncAlm(uint8_t AlmH, uint8_t AlmM, uint8_t AlmS)
{
  /* In order to use RTC Calendar
   * CFG_RTCCLK_DIVIDER_CONF = 16 in app_conf.h to have RTC base Time 1Hz,
   */

  /** Initialize RTC and set the Time and Date */
  sTime.Hours = 0x0;
  sTime.Minutes = 0x0;
  sTime.Seconds = 0x0;
  sTime.SubSeconds = 0x0;
  if (HAL_RTC_SetTime(&hrtc, &sTime, RTC_FORMAT_BCD) != HAL_OK)
  {
    Error_Handler();
  }

  /** Enable the Alarm A */
  sAlarm.AlarmTime.Hours = AlmH;
  sAlarm.AlarmTime.Minutes = AlmM;
  sAlarm.AlarmTime.Seconds = AlmS;
  sAlarm.AlarmTime.SubSeconds = 0x0;
  if (HAL_RTC_SetAlarm_IT(&hrtc, &sAlarm, RTC_FORMAT_BCD) != HAL_OK)
  {
    Error_Handler();
  }

}

/**
  * @brief  Alarm callback
  * @param  hrtc : RTC handle
  * @retval None
  */
void HAL_RTC_AlarmAEventCallback(RTC_HandleTypeDef *hrtc)
{
  BSP_LED_Toggle(LED3);
  /* Resynchro RTC AlarmA */
  RTC_ReSyncAlm(0x0, 0x0, 0x22);
}

/* USER CODE END 4 */

void Error_Handler(void)
{
  __disable_irq();
  while (1)
  {
  }
}

/************************ (C) COPYRIGHT STMicroelectronics *****END OF FILE****/
